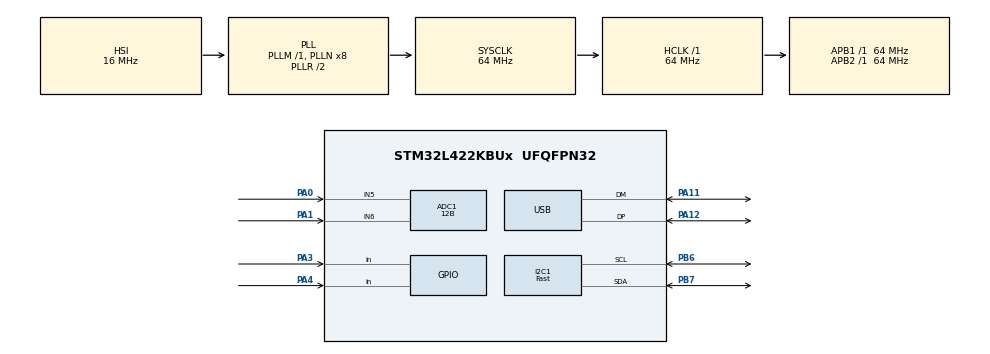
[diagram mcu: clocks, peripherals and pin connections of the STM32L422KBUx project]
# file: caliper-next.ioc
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ADC1.Channel-0\#ChannelRegularConversion=ADC_CHANNEL_6
ADC1.Channel-1\#ChannelRegularConversion=ADC_CHANNEL_5
ADC1.ClockPrescaler=ADC_CLOCK_ASYNC_DIV1
ADC1.ContinuousConvMode=ENABLE
ADC1.DMAContinuousRequests=ENABLE
ADC1.EnableInjectedConversion=ENABLE
ADC1.NbrOfConversion=2
ADC1.NbrOfConversionFlag=1
ADC1.OffsetNumber-0\#ChannelRegularConversion=ADC_OFFSET_NONE
ADC1.OffsetNumber-1\#ChannelRegularConversion=ADC_OFFSET_NONE
ADC1.Rank-0\#ChannelRegularConversion=1
ADC1.Rank-1\#ChannelRegularConversion=2
ADC1.Resolution=ADC_RESOLUTION_12B
ADC1.SamplingTime-0\#ChannelRegularConversion=ADC_SAMPLETIME_24CYCLES_5
ADC1.SamplingTime-1\#ChannelRegularConversion=ADC_SAMPLETIME_24CYCLES_5
ADC1.master=1
Dma.ADC1.0.Direction=DMA_PERIPH_TO_MEMORY
Dma.ADC1.0.Instance=DMA1_Channel1
Dma.ADC1.0.MemDataAlignment=DMA_MDATAALIGN_HALFWORD
Dma.ADC1.0.MemInc=DMA_MINC_ENABLE
Dma.ADC1.0.Mode=DMA_CIRCULAR
Dma.ADC1.0.PeriphDataAlignment=DMA_PDATAALIGN_HALFWORD
Dma.ADC1.0.PeriphInc=DMA_PINC_DISABLE
Dma.ADC1.0.Priority=DMA_PRIORITY_LOW
Dma.Request0=ADC1
I2C1.I2C_Fall_Time=300
I2C1.I2C_Speed_Mode=I2C_Fast
I2C1.Timing=0x006D215F
Mcu.Family=STM32L4
Mcu.Name=STM32L422KBUx
Mcu.Package=UFQFPN32
NVIC.DMA1_Channel1_IRQn=true\:0\:0\:false\:false\:true\:false\:true
NVIC.I2C1_EV_IRQn=true\:0\:0\:false\:false\:true\:true\:true
NVIC.PriorityGroup=NVIC_PRIORITYGROUP_4
NVIC.TIM6_IRQn=true\:0\:0\:false\:false\:true\:true\:true
NVIC.USB_IRQn=true\:0\:0\:false\:false\:true\:false\:true
PA0-CK_IN.Signal=ADCx_IN5
PA1.Signal=ADCx_IN6
PA11.GPIO_PuPd=GPIO_PULLUP
PA11.Mode=Device
PA11.Signal=USB_DM
PA12.GPIO_PuPd=GPIO_PULLUP
PA12.Mode=Device
PA12.Signal=USB_DP
PA13\ (JTMS/SWDIO).Mode=Trace_Asynchronous_SW
PA13\ (JTMS/SWDIO).Signal=SYS_JTMS-SWDIO
PA14\ (JTCK/SWCLK).Mode=Trace_Asynchronous_SW
PA14\ (JTCK/SWCLK).Signal=SYS_JTCK-SWCLK
PA3.GPIO_PuPd=GPIO_PULLUP
PA3.Signal=GPIO_Input
PA4.GPIO_PuPd=GPIO_PULLUP
PA4.Signal=GPIO_Input
PB3\ (JTDO/TRACESWO).Mode=Trace_Asynchronous_SW
PB3\ (JTDO/TRACESWO).Signal=SYS_JTDO-SWO
PB6.GPIO_FM6=I2C_FASTMODEPLUS_PB6
PB6.Mode=I2C
PB6.Signal=I2C1_SCL
PB7.GPIO_FM7=I2C_FASTMODEPLUS_PB7
PB7.Mode=I2C
PB7.Signal=I2C1_SDA
ProjectManager.HeapSize=0x1000
ProjectManager.StackSize=0x400
ProjectManager.TargetToolchain=STM32CubeIDE
RCC.ADCFreq_Value=64000000
RCC.AHBFreq_Value=64000000
RCC.APB1Freq_Value=64000000
RCC.APB1TimFreq_Value=64000000
RCC.APB2Freq_Value=64000000
RCC.APB2TimFreq_Value=64000000
RCC.CK48CLockSelection=RCC_USBCLKSOURCE_HSI48
RCC.CortexFreq_Value=64000000
RCC.HCLKFreq_Value=64000000
RCC.HSE_VALUE=8000000
RCC.HSI48_VALUE=48000000
RCC.HSI_VALUE=16000000
RCC.LSE_VALUE=32768
RCC.MSIClockRange=RCC_MSIRANGE_11
RCC.MSI_VALUE=48000000
RCC.PLLSourceVirtual=RCC_PLLSOURCE_HSI
RCC.Prescaler=RCC_CRS_SYNC_DIV1
RCC.SYSCLKFreq_VALUE=64000000
RCC.SYSCLKSource=RCC_SYSCLKSOURCE_PLLCLK
RCC.USBFreq_Value=48000000
RCC.VCOOutputFreq_Value=128000000
SH.ADCx_IN5.0=ADC1_IN5,IN5-Single-Ended
SH.ADCx_IN6.0=ADC1_IN6,IN6-Single-Ended
TIM6.Period=20
TIM6.Prescaler=299
USB.Sof_enable=DISABLE
USB_DEVICE.APP_RX_DATA_SIZE=512
USB_DEVICE.APP_TX_DATA_SIZE=512
USB_DEVICE.CLASS_NAME_FS=CDC
USB_DEVICE.VirtualMode=Cdc
USB_DEVICE.VirtualModeFS=Cdc_FS
VP_RCC_USB.Mode=CRS SYNC Source USB
VP_TIM6_VS_ClockSourceINT.Mode=Enable_Timer
VP_USB_DEVICE_VS_USB_DEVICE_CDC_FS.Mode=CDC_FS
board=custom

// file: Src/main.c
/* USER CODE BEGIN Header */
/**
  ******************************************************************************
  * @file           : main.c
  * @brief          : Main program body
  ******************************************************************************
  * @attention
  *
  * <h2><center>&copy; Copyright (c) 2019 STMicroelectronics.
  * All rights reserved.</center></h2>
  *
  * This software component is licensed by ST under BSD 3-Clause license,
  * the "License"; You may not use this file except in compliance with the
  * License. You may obtain a copy of the License at:
  *                        opensource.org/licenses/BSD-3-Clause
  *
  ******************************************************************************
  */
/* USER CODE END Header */

#include "main.h"
#include "usb_device.h"

/* USER CODE BEGIN Includes */
#include <stdio.h>
#include <stdlib.h>
#include <string.h>
#include "ssd1306.h"
#include "ugui.h"
#include "dfilter.h"
#include "caliper.h"
#include "usbd_cdc_if.h"

/* USER CODE END Includes */

/* USER CODE BEGIN PD */
#define ADC_LENGTH (128)
#define FILT_WAIT_CYCLE (8000)
/* USER CODE END PD */

ADC_HandleTypeDef hadc1;
DMA_HandleTypeDef hdma_adc1;

I2C_HandleTypeDef hi2c1;

TIM_HandleTypeDef htim6;

/* USER CODE BEGIN PV */

//for uGUI
UG_GUI gui;

//for ADC
uint16_t sens_val[ADC_LENGTH];
uint16_t y[2]={0,0};

uint16_t prev_data[2]={0,0};

//for DAC
uint16_t out_val[2];

//for switch
SwitchState sw_state[SW_NUM];

//for CDC

char str[24];
/* USER CODE END PV */

void SystemClock_Config(void);
static void MX_GPIO_Init(void);
static void MX_DMA_Init(void);
static void MX_ADC1_Init(void);
static void MX_I2C1_Init(void);
static void MX_TIM6_Init(void);

/* USER CODE BEGIN 0 */

void pset(UG_S16 x, UG_S16 y, UG_COLOR col)
{
	displayDrawDot(x, y, col);
}

//call from main loop
void swDetect()
{
	#define SW_CNT_THR (5)		//n-time read. To avoid contact bounce.

	GPIO_TypeDef* sw_gpio_arr[SW_NUM] = {GPIOA, GPIOA};
	uint16_t sw_pin_arr[SW_NUM] = {GPIO_PIN_3, GPIO_PIN_4};
	static GPIO_PinState sw_prev_state[SW_NUM] = {GPIO_PIN_SET, GPIO_PIN_SET};
	GPIO_PinState sw_buf;
	static uint8_t sw_counter[SW_NUM] = {0, 0};

	for(uint32_t i=0; i<SW_NUM; i++){
		sw_buf = HAL_GPIO_ReadPin(sw_gpio_arr[i], sw_pin_arr[i]);
		if(sw_prev_state[i] == sw_buf){
			sw_counter[i]++;
		}else{
			sw_counter[i] = 0;
		}
		sw_prev_state[i] = sw_buf;

		// inactivate edge
		if(SW_PUSH_EDGE == sw_state[i]){
			sw_state[i] = SW_PUSH_CONTINUE;
		}else if(SW_UNPUSH_EDGE == sw_state[i]){
			sw_state[i] = SW_UNPUSH_CONTINUE;
		}

		// generate edge
		if(sw_counter[i] >= SW_CNT_THR){
			sw_counter[i] = 0;
			if(GPIO_PIN_RESET == sw_buf){

				switch (sw_state[i]) {
					case SW_PUSH_CONTINUE:
						sw_state[i] = SW_PUSH_CONTINUE;
						break;
					case SW_UNPUSH_CONTINUE:
						sw_state[i] = SW_PUSH_EDGE;
						break;
					default:
						break;
				}

			}else{

				switch (sw_state[i]) {
					case SW_PUSH_CONTINUE:
						sw_state[i] = SW_UNPUSH_EDGE;
						break;
					case SW_UNPUSH_CONTINUE:
						sw_state[i] = SW_UNPUSH_CONTINUE;
						break;
					default:
						break;
				}

			}
		}
	}

}

//reference https://umtkm.github.io/2017/12/19/nucleo-f401-flash-struct/
void writeFlash(uint32_t address, uint64_t *data, uint32_t size)
{
	HAL_StatusTypeDef hstat;

	HAL_FLASH_Unlock();

	//erase
	uint32_t pageError = 0;
	FLASH_EraseInitTypeDef erase;
	erase.TypeErase = FLASH_TYPEERASE_PAGES;
	erase.Page = 63;
	erase.NbPages = 1;
	erase.Banks = FLASH_BANK_1;
	hstat = HAL_FLASHEx_Erase(&erase, &pageError);

	if (HAL_OK != hstat )
	{
		HAL_FLASH_Lock();
		return;
	}

	if(0xFFFFFFFF != pageError){
		HAL_FLASH_Lock();
		return;
	}

	//write
	for(uint32_t i=0; i<size; i++){
		hstat = HAL_FLASH_Program(FLASH_TYPEPROGRAM_DOUBLEWORD, address, *data );
		address += 8;
		data++;

		if (HAL_OK != hstat )
		{
			HAL_FLASH_Lock();
			return;
		}
	}

	HAL_FLASH_Lock();
}

void loadFlash(uint32_t address, uint8_t *data, uint32_t bytesize)
{
	memcpy(data, (uint8_t*)address, bytesize);
}

bool verifyFlash()
{
	CalibrationData cd;

	loadFlash(CALIB_DATA_ADDRESS, (uint8_t*)&cd, sizeof(calib_dat));

	  if(CALIB_DATA_CHECK_NUM == cd.chk_num){
		  return true;
	  }

	  return false;

}

void HAL_TIM_PeriodElapsedCallback(TIM_HandleTypeDef *htim)
{
	static uint32_t finish_cnt=0;
	CalibStatus cstat;

	if(htim->Instance == TIM6)
	{
		//sensing
		for(uint32_t i=0; i<2; i++){
			y[i] =  dfRCFilt(sens_val[i], prev_data[i]);
			prev_data[i] =y[i];
		}

		  //mode selection
		  switch(cpGetCaliperMode()){

			  case SCALE_CALIB:
				  cstat = cpCalibration(y);
				  if(CALIB_FINISHED == cstat){
					  cpSetCaliperMode(SCALE_CALIB_FINISH);
					  finish_cnt=0;
				  }else if(CALIB_NG == cstat){
					  cpCalibrationStart();
				  }
				  break;

			  case SCALE_CALIB_FINISH:
				  if(100 <= finish_cnt){
					  cpSetCaliperMode(SCALE_WORK);
				  }else{
					  finish_cnt++;
				  }
				  break;

			  case SCALE_WORK:

				  cpApplyPhaseCompensation(y);
				  cpCalcLength(y[0],y[1]);
				  break;

			  case SCALE_HOLD:
				  break;
			  default:
				  break;
		  }

	}
}

void HAL_I2C_MasterTxCpltCallback(I2C_HandleTypeDef *hi2c){

	if(hi2c->Instance == I2C1)
	{
		disp_transmitted = true;
		HAL_I2C_Master_Transmit_IT(&hi2c1, 0x78, (uint8_t *)disp_memory, DISP_MEMORY_SIZE*2);
		disp_transmitted = false;
	}
}
/* USER CODE END 0 */

int main(void)
{
  /* USER CODE BEGIN 1 */
	static ScaleMode smode_prev = SCALE_CALIB;
	char send_str[20];

  /* USER CODE END 1 */

  /* MCU Configuration--------------------------------------------------------*/

  /* Reset of all peripherals, Initializes the Flash interface and the Systick. */
  HAL_Init();

  /* Configure the system clock */
  SystemClock_Config();

  /* Initialize all configured peripherals */
  MX_GPIO_Init();
  MX_DMA_Init();
  MX_ADC1_Init();
  MX_I2C1_Init();
  MX_TIM6_Init();
  MX_USB_DEVICE_Init();
  /* USER CODE BEGIN 2 */

  displayInit();

   //Init ugui
  UG_Init(&gui, pset, VRAM_X_SIZE, VRAM_Y_SIZE);
  UG_SetBackcolor(C_BLACK);
  UG_SetForecolor(C_WHITE);
  UG_FillScreen(C_BLACK);

  //Init caliper
  cpInit();

  //load and check calib data
  loadFlash(CALIB_DATA_ADDRESS, (uint8_t*)&calib_dat, sizeof(calib_dat));
  if(CALIB_DATA_CHECK_NUM == calib_dat.chk_num){
		for(uint32_t i=0; i<SENSOR_NUM; i++){
			c_state.amplitude[i] = calib_dat.amplitude[i] ;
			c_state.max[i] = calib_dat.max[i];
			c_state.middle[i] = calib_dat.middle[i];
			c_state.min[i] = calib_dat.min[i];
		}
		c_state.delta = calib_dat.delta;
  }else{//need calibration
		c_state.smode = SCALE_CALIB;
  }

  //ADC start
  HAL_ADCEx_Calibration_Start(&hadc1, ADC_SINGLE_ENDED);
  HAL_ADC_Start_DMA(&hadc1, (uint32_t *)sens_val, ADC_LENGTH);

  //wait for stabilization of filter.
  for(uint32_t j=0; j<FILT_WAIT_CYCLE; j++){
	  for(uint32_t i=0; i<2; i++){
		  y[i] = prev_data[i] = dfRCFilt(sens_val[i], prev_data[i]);
	  }
	  cpCalcLength(y[0],y[1]);
  }
  cpSetZeroPosition();

  //display timer start
  HAL_TIM_Base_Start_IT(&htim6);

  /* USER CODE END 2 */

  /* Infinite loop */
  /* USER CODE BEGIN WHILE */
  while (1)
  {
	  	  switch(cpGetCaliperMode()){

		  case SCALE_CALIB:
			  if(smode_prev != SCALE_CALIB){
				  smode_prev = SCALE_CALIB;
				  UG_FillScreen(C_BLACK);
				  UG_FontSelect(&FONT_8X8);
			  }
			  UG_FontSelect(&FONT_10X16);
			  sprintf(str, "CALIB MODE");
			  UG_PutString(5, 0, str);
			  UG_FontSelect(&FONT_8X8);
			  sprintf(str, "<= MOVE =>");
			  UG_PutString(15, 23, str);

			  break;

		  case SCALE_CALIB_FINISH:
			  if(smode_prev != SCALE_CALIB_FINISH){
				  smode_prev = SCALE_CALIB_FINISH;

				  /////save calibration data
				  //erase calib data
				  writeFlash(CALIB_DATA_ADDRESS, (uint64_t*)&calib_dat, (sizeof(calib_dat)/8) + ( (sizeof(calib_dat)%8) >= 1) );

				  //verify
				  verifyFlash();

				  //displahy
				  UG_FillScreen(C_BLACK);
				  UG_FontSelect(&FONT_10X16);
				  sprintf(str, "CALIB OK!");
				  UG_PutString(5, 0, str);
				  HAL_Delay(1500);
			  }

			  break;

		  case SCALE_WORK:
			  if(smode_prev != SCALE_WORK){
				  smode_prev = SCALE_WORK;
				  UG_FillScreen(C_BLACK);
				  UG_FontSelect(&FONT_12X20);

				  cpSetZeroPosition();
			  }

#ifdef CFG_DEBUG_INDICATE_ON
		  		UG_FontSelect(&FONT_4X6);
				sprintf(str, "M:%04d,%04d,%04d", y[0],c_state.max[0],c_state.min[0]);
				UG_PutString(0, 0, str);

				sprintf(str, "S:%04d,%04d,%04d", y[1],c_state.max[1],c_state.min[1]);
				UG_PutString(0, 10, str);
				sprintf(str, "D:%f",c_state.delta);
				UG_PutString(0, 10, str);

				sprintf(str, "%5.2fmm + %5.2fmm", cpGetLength(), cpGetAccLength());
				UG_PutString(0, 20, str);
#else
		  		sprintf(str, "%7.2fmm", cpGetAccLength());
		  		UG_PutString(0, 7, str);
#endif
		  	  if(SW_PUSH_EDGE == sw_state[0]){
		  		  cpSetZeroPosition();
		  	  }
			  break;

		  case SCALE_HOLD:
			  if(smode_prev != SCALE_HOLD){
				  smode_prev = SCALE_HOLD;
			  }
			  break;
		  default:
			  break;
	  }

	  swDetect();
  	  if(SW_PUSH_EDGE == sw_state[1]){
  		  cpCalibrationStart();
  	  }

  	sprintf(send_str, "LEN=%6.2f\n\r", cpGetAccLength());

    CDC_Transmit_FS((uint8_t *)send_str, sizeof(send_str));

    /* USER CODE END WHILE */

  }
}

void SystemClock_Config(void)
{
  RCC_OscInitTypeDef RCC_OscInitStruct = {0};
  RCC_ClkInitTypeDef RCC_ClkInitStruct = {0};
  RCC_PeriphCLKInitTypeDef PeriphClkInit = {0};
  RCC_CRSInitTypeDef RCC_CRSInitStruct = {0};

  /** Configure the main internal regulator output voltage
  */
  if (HAL_PWREx_ControlVoltageScaling(PWR_REGULATOR_VOLTAGE_SCALE1) != HAL_OK)
  {
    Error_Handler();
  }
  /** Initializes the CPU, AHB and APB busses clocks
  */
  RCC_OscInitStruct.OscillatorType = RCC_OSCILLATORTYPE_HSI48|RCC_OSCILLATORTYPE_HSI;
  RCC_OscInitStruct.HSIState = RCC_HSI_ON;
  RCC_OscInitStruct.HSI48State = RCC_HSI48_ON;
  RCC_OscInitStruct.HSICalibrationValue = RCC_HSICALIBRATION_DEFAULT;
  RCC_OscInitStruct.PLL.PLLState = RCC_PLL_ON;
  RCC_OscInitStruct.PLL.PLLSource = RCC_PLLSOURCE_HSI;
  RCC_OscInitStruct.PLL.PLLM = 1;
  RCC_OscInitStruct.PLL.PLLN = 8;
  RCC_OscInitStruct.PLL.PLLQ = RCC_PLLQ_DIV2;
  RCC_OscInitStruct.PLL.PLLR = RCC_PLLR_DIV2;
  if (HAL_RCC_OscConfig(&RCC_OscInitStruct) != HAL_OK)
  {
    Error_Handler();
  }
  /** Initializes the CPU, AHB and APB busses clocks
  */
  RCC_ClkInitStruct.ClockType = RCC_CLOCKTYPE_HCLK|RCC_CLOCKTYPE_SYSCLK
                              |RCC_CLOCKTYPE_PCLK1|RCC_CLOCKTYPE_PCLK2;
  RCC_ClkInitStruct.SYSCLKSource = RCC_SYSCLKSOURCE_PLLCLK;
  RCC_ClkInitStruct.AHBCLKDivider = RCC_SYSCLK_DIV1;
  RCC_ClkInitStruct.APB1CLKDivider = RCC_HCLK_DIV1;
  RCC_ClkInitStruct.APB2CLKDivider = RCC_HCLK_DIV1;

  if (HAL_RCC_ClockConfig(&RCC_ClkInitStruct, FLASH_LATENCY_3) != HAL_OK)
  {
    Error_Handler();
  }
  PeriphClkInit.PeriphClockSelection = RCC_PERIPHCLK_I2C1|RCC_PERIPHCLK_USB
                              |RCC_PERIPHCLK_ADC;
  PeriphClkInit.I2c1ClockSelection = RCC_I2C1CLKSOURCE_PCLK1;
  PeriphClkInit.UsbClockSelection = RCC_USBCLKSOURCE_HSI48;
  if (HAL_RCCEx_PeriphCLKConfig(&PeriphClkInit) != HAL_OK)
  {
    Error_Handler();
  }
  /** Enable the SYSCFG APB clock
  */
  __HAL_RCC_CRS_CLK_ENABLE();
  /** Configures CRS
  */
  RCC_CRSInitStruct.Prescaler = RCC_CRS_SYNC_DIV1;
  RCC_CRSInitStruct.Source = RCC_CRS_SYNC_SOURCE_USB;
  RCC_CRSInitStruct.Polarity = RCC_CRS_SYNC_POLARITY_RISING;
  RCC_CRSInitStruct.ReloadValue = __HAL_RCC_CRS_RELOADVALUE_CALCULATE(48000000,1000);
  RCC_CRSInitStruct.ErrorLimitValue = 34;
  RCC_CRSInitStruct.HSI48CalibrationValue = 32;

  HAL_RCCEx_CRSConfig(&RCC_CRSInitStruct);
}

static void MX_ADC1_Init(void)
{

  ADC_MultiModeTypeDef multimode = {0};
  ADC_ChannelConfTypeDef sConfig = {0};

  /** Common config
  */
  hadc1.Instance = ADC1;
  hadc1.Init.ClockPrescaler = ADC_CLOCK_ASYNC_DIV1;
  hadc1.Init.Resolution = ADC_RESOLUTION_12B;
  hadc1.Init.DataAlign = ADC_DATAALIGN_RIGHT;
  hadc1.Init.ScanConvMode = ADC_SCAN_ENABLE;
  hadc1.Init.EOCSelection = ADC_EOC_SINGLE_CONV;
  hadc1.Init.LowPowerAutoWait = DISABLE;
  hadc1.Init.ContinuousConvMode = ENABLE;
  hadc1.Init.NbrOfConversion = 2;
  hadc1.Init.DiscontinuousConvMode = DISABLE;
  hadc1.Init.ExternalTrigConv = ADC_SOFTWARE_START;
  hadc1.Init.ExternalTrigConvEdge = ADC_EXTERNALTRIGCONVEDGE_NONE;
  hadc1.Init.DMAContinuousRequests = ENABLE;
  hadc1.Init.Overrun = ADC_OVR_DATA_PRESERVED;
  hadc1.Init.OversamplingMode = DISABLE;
  if (HAL_ADC_Init(&hadc1) != HAL_OK)
  {
    Error_Handler();
  }
  /** Configure the ADC multi-mode
  */
  multimode.Mode = ADC_MODE_INDEPENDENT;
  if (HAL_ADCEx_MultiModeConfigChannel(&hadc1, &multimode) != HAL_OK)
  {
    Error_Handler();
  }
  /** Configure Regular Channel
  */
  sConfig.Channel = ADC_CHANNEL_6;
  sConfig.Rank = ADC_REGULAR_RANK_1;
  sConfig.SamplingTime = ADC_SAMPLETIME_24CYCLES_5;
  sConfig.SingleDiff = ADC_SINGLE_ENDED;
  sConfig.OffsetNumber = ADC_OFFSET_NONE;
  sConfig.Offset = 0;
  if (HAL_ADC_ConfigChannel(&hadc1, &sConfig) != HAL_OK)
  {
    Error_Handler();
  }
  /** Configure Regular Channel
  */
  sConfig.Channel = ADC_CHANNEL_5;
  sConfig.Rank = ADC_REGULAR_RANK_2;
  if (HAL_ADC_ConfigChannel(&hadc1, &sConfig) != HAL_OK)
  {
    Error_Handler();
  }

}

static void MX_I2C1_Init(void)
{

  hi2c1.Instance = I2C1;
  hi2c1.Init.Timing = 0x006D215F;
  hi2c1.Init.OwnAddress1 = 0;
  hi2c1.Init.AddressingMode = I2C_ADDRESSINGMODE_7BIT;
  hi2c1.Init.DualAddressMode = I2C_DUALADDRESS_DISABLE;
  hi2c1.Init.OwnAddress2 = 0;
  hi2c1.Init.OwnAddress2Masks = I2C_OA2_NOMASK;
  hi2c1.Init.GeneralCallMode = I2C_GENERALCALL_DISABLE;
  hi2c1.Init.NoStretchMode = I2C_NOSTRETCH_DISABLE;
  if (HAL_I2C_Init(&hi2c1) != HAL_OK)
  {
    Error_Handler();
  }
  /** Configure Analogue filter
  */
  if (HAL_I2CEx_ConfigAnalogFilter(&hi2c1, I2C_ANALOGFILTER_ENABLE) != HAL_OK)
  {
    Error_Handler();
  }
  /** Configure Digital filter
  */
  if (HAL_I2CEx_ConfigDigitalFilter(&hi2c1, 0) != HAL_OK)
  {
    Error_Handler();
  }

}

static void MX_TIM6_Init(void)
{

  TIM_MasterConfigTypeDef sMasterConfig = {0};

  htim6.Instance = TIM6;
  htim6.Init.Prescaler = 299;
  htim6.Init.CounterMode = TIM_COUNTERMODE_UP;
  htim6.Init.Period = 20;
  htim6.Init.AutoReloadPreload = TIM_AUTORELOAD_PRELOAD_DISABLE;
  if (HAL_TIM_Base_Init(&htim6) != HAL_OK)
  {
    Error_Handler();
  }
  sMasterConfig.MasterOutputTrigger = TIM_TRGO_RESET;
  sMasterConfig.MasterSlaveMode = TIM_MASTERSLAVEMODE_DISABLE;
  if (HAL_TIMEx_MasterConfigSynchronization(&htim6, &sMasterConfig) != HAL_OK)
  {
    Error_Handler();
  }

}

static void MX_DMA_Init(void)
{

  /* DMA controller clock enable */
  __HAL_RCC_DMA1_CLK_ENABLE();

  /* DMA interrupt init */
  /* DMA1_Channel1_IRQn interrupt configuration */
  HAL_NVIC_SetPriority(DMA1_Channel1_IRQn, 0, 0);
  HAL_NVIC_EnableIRQ(DMA1_Channel1_IRQn);

}

static void MX_GPIO_Init(void)
{
  GPIO_InitTypeDef GPIO_InitStruct = {0};

  /* GPIO Ports Clock Enable */
  __HAL_RCC_GPIOA_CLK_ENABLE();
  __HAL_RCC_GPIOB_CLK_ENABLE();

  /*Configure GPIO pins : PA3 PA4 */
  GPIO_InitStruct.Pin = GPIO_PIN_3|GPIO_PIN_4;
  GPIO_InitStruct.Mode = GPIO_MODE_INPUT;
  GPIO_InitStruct.Pull = GPIO_PULLUP;
  HAL_GPIO_Init(GPIOA, &GPIO_InitStruct);

}

void Error_Handler(void)
{
}

/************************ (C) COPYRIGHT STMicroelectronics *****END OF FILE****/
